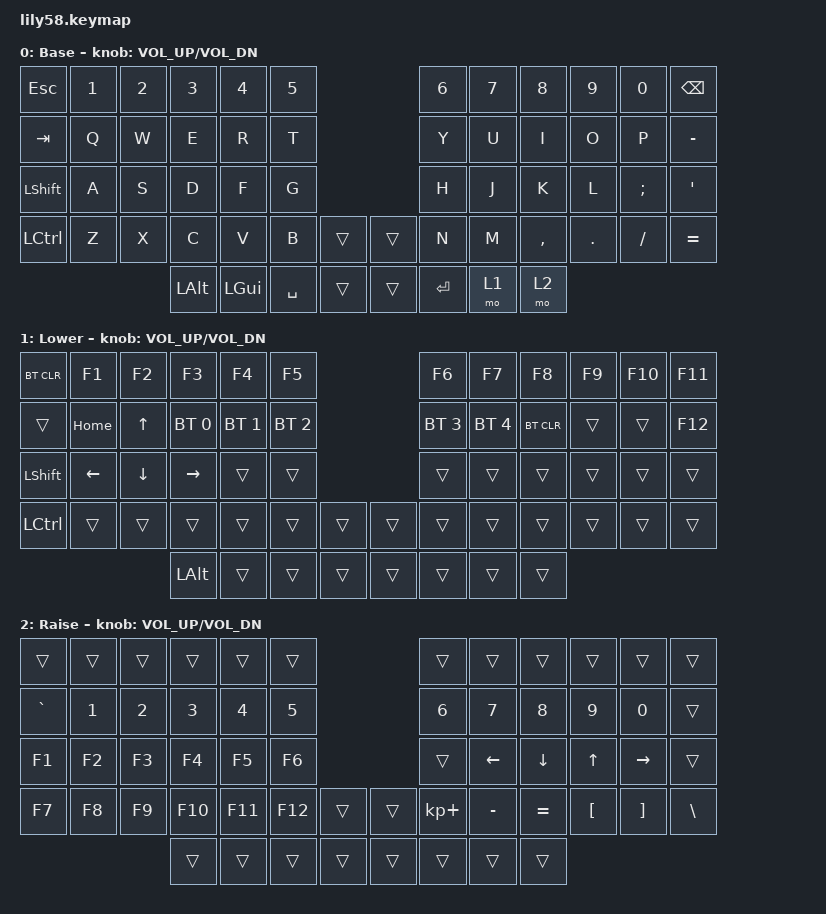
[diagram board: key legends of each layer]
/*
 * Copyright (c) 2020 The ZMK Contributors
 *
 * SPDX-License-Identifier: MIT
 */

#include <behaviors.dtsi>
#include <dt-bindings/zmk/bt.h>
#include <dt-bindings/zmk/keys.h>

/ {
    keymap {
        compatible = "zmk,keymap";

        default_layer {
            // ------------------------------------------------------------------------------------------------------------
            // |  ESC  |  1  |  2  |  3   |  4   |  5   |                   |  6   |  7    |  8    |  9   |   0   |   `   |
            // |  TAB  |  Q  |  W  |  E   |  R   |  T   |                   |  Y   |  U    |  I    |  O   |   P   |   -   |
            // |  CTRL |  A  |  S  |  D   |  F   |  G   |                   |  H   |  J    |  K    |  L   |   ;   |   '   |
            // | SHIFT |  Z  |  X  |  C   |  V   |  B   |   "["  |  |  "]"  |  N   |  M    |  ,    |  .   |   /   | SHIFT |
            //                     | ALT  | GUI  | LOWER|  SPACE |  | ENTER | RAISE| BSPC  | GUI   |

            display-name = "Base";
            bindings = <
&kp ESC           &kp N1  &kp N2  &kp N3    &kp N4    &kp N5                       &kp N6     &kp N7  &kp N8     &kp N9   &kp N0    &kp BACKSPACE
&kp TAB           &kp Q   &kp W   &kp E     &kp R     &kp T                        &kp Y      &kp U   &kp I      &kp O    &kp P     &kp MINUS
&kp LEFT_SHIFT    &kp A   &kp S   &kp D     &kp F     &kp G                        &kp H      &kp J   &kp K      &kp L    &kp SEMI  &kp SQT
&kp LEFT_CONTROL  &kp Z   &kp X   &kp C     &kp V     &kp B      &trans    &trans  &kp N      &kp M   &kp COMMA  &kp DOT  &kp FSLH  &kp EQUAL
                                  &kp LALT  &kp LGUI  &kp SPACE  &trans    &trans  &kp ENTER  &mo 1   &mo 2
            >;

            sensor-bindings = <&inc_dec_kp C_VOL_UP C_VOL_DN>;
        };

        lower_layer {
            // ------------------------------------------------------------------------------------------------------------
            // | BTCLR | BT1 | BT2 |  BT3 |  BT4 |  BT5 |                   |      |       |       |      |       |       |
            // |  F1   |  F2 |  F3 |  F4  |  F5  |  F6  |                   |  F7  |  F8   |  F9   |  F10 |  F11  |  F12  |
            // |   `   |  !  |  @  |  #   |  $   |  %   |                   |  ^   |  &    |  *    |  (   |   )   |   ~   |
            // |       |     |     |      |      |      |        |  |       |      |  _    |  +    |  {   |   }   |  "|"  |
            //                     |      |      |      |        |  |       |      |       |       |

            display-name = "Lower";
            bindings = <
&bt BT_CLR        &kp F1    &kp F2        &kp F3        &kp F4        &kp F5                          &kp F6        &kp F7        &kp F8      &kp F9  &kp F10  &kp F11
&trans            &kp HOME  &kp UP_ARROW  &bt BT_SEL 0  &bt BT_SEL 1  &bt BT_SEL 2                    &bt BT_SEL 3  &bt BT_SEL 4  &bt BT_CLR  &trans  &trans   &kp F12
&kp LEFT_SHIFT    &kp LEFT  &kp DOWN      &kp RIGHT     &trans        &trans                          &trans        &trans        &trans      &trans  &trans   &trans
&kp LEFT_CONTROL  &trans    &trans        &trans        &trans        &trans        &trans    &trans  &trans        &trans        &trans      &trans  &trans   &trans
                                          &kp LEFT_ALT  &trans        &trans        &trans    &trans  &trans        &trans        &trans
            >;

            sensor-bindings = <&inc_dec_kp C_VOL_UP C_VOL_DN>;
        };

        raise_layer {
            // ------------------------------------------------------------------------------------------------------------
            // |       |     |     |      |      |      |                   |      |       |       |      |       |       |
            // |   `   |  1  |  2  |  3   |  4   |  5   |                   |  6   |   7   |   8   |  9   |   0   |       |
            // |   F1  |  F2 |  F3 |  F4  |  F5  |  F6  |                   |      |   <-  |   v   |  ^   |  ->   |       |
            // |   F7  |  F8 |  F9 |  F10 |  F11 |  F12 |        |  |       |  +   |   -   |   =   |  [   |   ]   |   \   |
            //                     |      |      |      |        |  |       |      |       |       |

            display-name = "Raise";
            bindings = <
&trans     &trans  &trans  &trans   &trans   &trans                     &trans       &trans     &trans     &trans    &trans     &trans
&kp GRAVE  &kp N1  &kp N2  &kp N3   &kp N4   &kp N5                     &kp N6       &kp N7     &kp N8     &kp N9    &kp N0     &trans
&kp F1     &kp F2  &kp F3  &kp F4   &kp F5   &kp F6                     &trans       &kp LEFT   &kp DOWN   &kp UP    &kp RIGHT  &trans
&kp F7     &kp F8  &kp F9  &kp F10  &kp F11  &kp F12  &trans    &trans  &kp KP_PLUS  &kp MINUS  &kp EQUAL  &kp LBKT  &kp RBKT   &kp BSLH
                           &trans   &trans   &trans   &trans    &trans  &trans       &trans     &trans
            >;

            sensor-bindings = <&inc_dec_kp C_VOL_UP C_VOL_DN>;
        };

        extra_1 { status = "reserved"; };

        extra_2 { status = "reserved"; };

        extra_3 { status = "reserved"; };
    };
};
